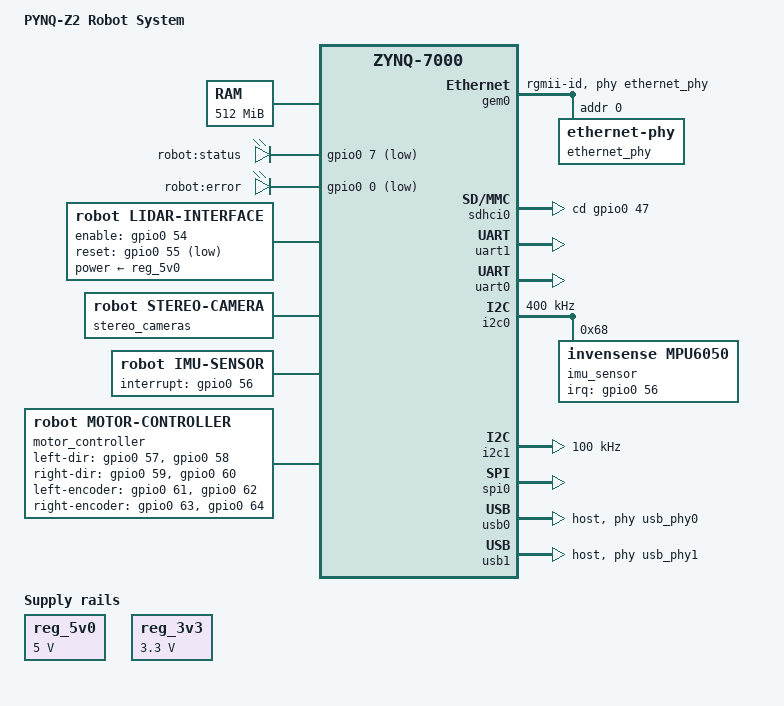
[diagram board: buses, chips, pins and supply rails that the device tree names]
/dts-v1/;

/ {
    model = "PYNQ-Z2 Robot System";
    compatible = "digilent,zynq-pynqz2", "xlnx,zynq-7000";

    #address-cells = <1>;
    #size-cells = <1>;

    memory@0 {
        device_type = "memory";
        reg = <0x0 0x20000000>; /* 512MB */
    };

    chosen {
        bootargs = "console=ttyPS0,115200 root=/dev/mmcblk0p2 rw earlyprintk rootfstype=ext4 rootwait";
    };

    aliases {
        ethernet0 = &gem0;
        serial0 = &uart1;
        spi0 = &spi0;
        spi1 = &spi1;
        mmc0 = &sdhci0;
    };

    /* CPU and basic system */
    cpus {
        #address-cells = <1>;
        #size-cells = <0>;

        cpu@0 {
            compatible = "arm,cortex-a9";
            device_type = "cpu";
            reg = <0>;
            clocks = <&clkc 3>;
            clock-latency = <1000>;
            operating-points = <
                /* kHz    uV */
                666667  1000000
                333334  1000000
            >;
        };

        cpu@1 {
            compatible = "arm,cortex-a9";
            device_type = "cpu";
            reg = <1>;
            clocks = <&clkc 3>;
        };
    };

    /* FPGA Manager for bitstream loading */
    fpga_manager: fpga-manager {
        compatible = "xlnx,zynq-devcfg-1.0";
        reg = <0xf8007000 0x100>;
        interrupt-parent = <&intc>;
        interrupts = <0 8 4>;
        clocks = <&clkc 12>;
        clock-names = "ref_clk";
        syscon = <&slcr>;
    };

    /* Robot-specific GPIO definitions */
    robot_gpio: robot-gpio {
        compatible = "gpio-leds";
        
        status_led {
            label = "robot:status";
            gpios = <&gpio0 7 1>; /* Active low */
            default-state = "off";
        };

        error_led {
            label = "robot:error";
            gpios = <&gpio0 0 1>; /* Active low */
            default-state = "off";
        };
    };

    /* LiDAR interface configuration */
    lidar {
        compatible = "robot,lidar-interface";
        status = "okay";
        
        /* UART interface for LiDAR communication */
        uart-interface = <&uart0>;
        
        /* GPIO for LiDAR control */
        enable-gpios = <&gpio0 54 0>; /* Active high */
        reset-gpios = <&gpio0 55 1>;  /* Active low */
        
        /* Power management */
        power-supply = <&reg_5v0>;
        
        /* Operating parameters */
        scan-frequency = <10>; /* Hz */
        max-range = <12000>;   /* mm */
        min-range = <150>;     /* mm */
    };

    /* Stereo camera configuration */
    stereo_cameras {
        compatible = "robot,stereo-camera";
        status = "okay";
        
        left_camera {
            compatible = "usb-camera";
            device-path = "/dev/video0";
            resolution = "1280x720";
            framerate = <30>;
            format = "YUYV";
        };
        
        right_camera {
            compatible = "usb-camera";
            device-path = "/dev/video1";
            resolution = "1280x720";
            framerate = <30>;
            format = "YUYV";
        };
        
        /* Stereo calibration parameters */
        baseline = <120>; /* mm */
        focal-length = <800>; /* pixels */
    };

    /* IMU sensor configuration */
    imu {
        compatible = "robot,imu-sensor";
        status = "okay";
        
        /* I2C interface */
        i2c-interface = <&i2c0>;
        i2c-address = <0x68>;
        
        /* Interrupt GPIO */
        interrupt-gpios = <&gpio0 56 0>; /* Active high */
        
        /* Sensor parameters */
        sample-rate = <100>; /* Hz */
        gyro-range = <2000>; /* dps */
        accel-range = <16>;  /* g */
    };

    /* Robot motor control interface */
    motor_controller {
        compatible = "robot,motor-controller";
        status = "okay";
        
        /* PWM interfaces for motor control */
        left-motor-pwm = <&pwm0 0>;
        right-motor-pwm = <&pwm0 1>;
        
        /* GPIO for motor direction control */
        left-dir-gpios = <&gpio0 57 0>, <&gpio0 58 0>;
        right-dir-gpios = <&gpio0 59 0>, <&gpio0 60 0>;
        
        /* Encoder inputs */
        left-encoder = <&gpio0 61>, <&gpio0 62>;
        right-encoder = <&gpio0 63>, <&gpio0 64>;
        
        /* Motor parameters */
        max-speed = <2000>; /* mm/s */
        wheel-diameter = <65>; /* mm */
        wheel-base = <150>; /* mm */
    };

    /* Power management */
    regulators {
        compatible = "simple-bus";
        #address-cells = <1>;
        #size-cells = <0>;

        reg_5v0: regulator@0 {
            compatible = "regulator-fixed";
            reg = <0>;
            regulator-name = "5V0";
            regulator-min-microvolt = <5000000>;
            regulator-max-microvolt = <5000000>;
            regulator-always-on;
        };

        reg_3v3: regulator@1 {
            compatible = "regulator-fixed";
            reg = <1>;
            regulator-name = "3V3";
            regulator-min-microvolt = <3300000>;
            regulator-max-microvolt = <3300000>;
            regulator-always-on;
        };
    };

    /* Real-time clock */
    rtc {
        compatible = "dallas,ds1307";
        reg = <0x68>;
        status = "okay";
    };

    /* Robot-specific overlays */
    fragment@0 {
        target-path = "/";
        __overlay__ {
            robot_control: robot-control@43c00000 {
                compatible = "robot,control-ip";
                reg = <0x43c00000 0x10000>;
                interrupt-parent = <&intc>;
                interrupts = <0 29 4>;
                
                /* Custom IP parameters */
                control-frequency = <1000>; /* Hz */
                safety-timeout = <100>; /* ms */
            };
        };
    };

    /* SLAM processing overlay */
    fragment@1 {
        target-path = "/";
        __overlay__ {
            slam_accelerator: slam-accel@43c10000 {
                compatible = "robot,slam-accelerator";
                reg = <0x43c10000 0x10000>;
                interrupt-parent = <&intc>;
                interrupts = <0 30 4>;
                
                /* FPGA acceleration parameters */
                processing-cores = <4>;
                memory-bandwidth = <1000>; /* MB/s */
            };
        };
    };

    /* Computer vision accelerator */
    fragment@2 {
        target-path = "/";
        __overlay__ {
            cv_accelerator: cv-accel@43c20000 {
                compatible = "robot,cv-accelerator";
                reg = <0x43c20000 0x10000>;
                interrupt-parent = <&intc>;
                interrupts = <0 31 4>;
                
                /* OpenCV acceleration */
                pipeline-stages = <8>;
                image-formats = "RGB", "GRAY", "HSV";
            };
        };
    };
};

/* Include base PYNQ-Z2 device tree */
#include "zynq-pynqz2.dtsi"

/* Override specific configurations for robot system */
&gem0 {
    status = "okay";
    phy-mode = "rgmii-id";
    phy-handle = <&ethernet_phy>;
    
    ethernet_phy: ethernet-phy@0 {
        reg = <0>;
        device_type = "ethernet-phy";
    };
};

&sdhci0 {
    status = "okay";
    disable-wp;
    cd-gpios = <&gpio0 47 0>; /* Card detect */
};

&uart1 {
    status = "okay";
};

&uart0 {
    status = "okay";
    /* Used for LiDAR communication */
};

&i2c0 {
    status = "okay";
    clock-frequency = <400000>;
    
    /* IMU sensor */
    imu_sensor: imu@68 {
        compatible = "invensense,mpu6050";
        reg = <0x68>;
        interrupt-parent = <&gpio0>;
        interrupts = <56 4>; /* IRQ_TYPE_LEVEL_HIGH */
    };
};

&i2c1 {
    status = "okay";
    clock-frequency = <100000>;
};

&spi0 {
    status = "okay";
    num-cs = <4>;
};

&usb0 {
    status = "okay";
    dr_mode = "host";
    usb-phy = <&usb_phy0>;
};

&usb1 {
    status = "okay";
    dr_mode = "host";
    usb-phy = <&usb_phy1>;
};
